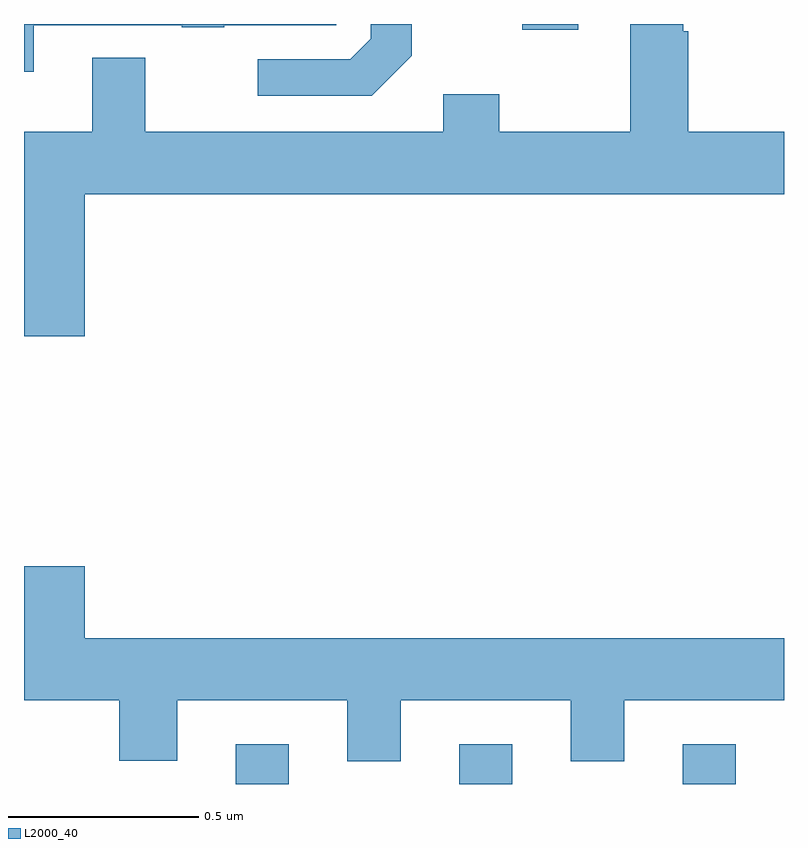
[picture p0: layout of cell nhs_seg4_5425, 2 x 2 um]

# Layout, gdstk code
import gdstk
lib = gdstk.Library(unit=1e-6, precision=1e-09)
def R(c, l, rs):  # rectangles x0, y0, x1, y1
    for r in rs: c.add(gdstk.rectangle(r[:2], r[2:], *l))
def A(c, l, x, y, w, h, nx, ny, dx, dy):  # array of equal rectangles
    R(c, l, [(x+i*dx, y+j*dy, x+i*dx+w, y+j*dy+h) for i in range(nx) for j in range(ny)])
def P(c, l, *ps):  # polygons
    for p in ps: c.add(gdstk.Polygon(p, *l))
L2000_40 = (2000, 40)

nhs_seg4_5425 = lib.new_cell('nhs_seg4_5425')
A(nhs_seg4_5425, L2000_40, 177.557, 829.9, 0.14, 0.105, 3, 1, 0.588, 0)
R(nhs_seg4_5425, L2000_40, [(178.311,831.885,178.459,831.9)])
P(nhs_seg4_5425, L2000_40, [(177.16,831.452),(179,831.452),(179,831.616),(178.748,831.616),(178.748,831.881),(178.735,831.881),(178.735,831.9),(178.595,831.9),(178.595,831.616),(178.251,831.616),(178.251,831.715),(178.103,831.715),(178.103,831.616),(177.319,831.616),(177.319,831.811),(177.179,831.811),(177.179,831.616),(177,831.616),(177,831.078),(177.16,831.078)],
  [(178.021,831.817),(178.021,831.9),(177.912,831.9),(177.912,831.861),(177.858,831.807),(177.615,831.807),(177.615,831.711),(177.915,831.711)],
  [(177.025,831.897),(177.415,831.897),(177.415,831.892),(177.527,831.892),(177.527,831.897),(177.822,831.897),(177.822,831.9),(177,831.9),(177,831.774),(177.025,831.774)],
  [(177.991,830.12),(178.439,830.12),(178.439,829.96),(178.579,829.96),(178.579,830.12),(179,830.12),(179,830.284),(177.16,830.284),(177.16,830.473),(177,830.473),(177,830.12),(177.251,830.12),(177.251,829.961),(177.403,829.961),(177.403,830.12),(177.851,830.12),(177.851,829.96),(177.991,829.96)])

lib.write_gds('nhs_seg4_5425.gds')
